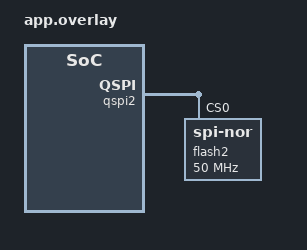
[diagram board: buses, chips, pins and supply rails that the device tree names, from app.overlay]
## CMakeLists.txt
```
# SPDX-License-Identifier: Apache-2.0
# QSPI flash test (qspi2@40040000 + on-board 32 MiB Puya NOR) - CMakeLists.txt

cmake_minimum_required(VERSION 3.20.0)
find_package(Zephyr REQUIRED HINTS $ENV{ZEPHYR_BASE})
project(cpu1_qspi_flash_test)

target_sources(app PRIVATE
    src/main.c
    src/qspi_flash_test.c)

# 统一 CMake 入口：common/test_results.c + common/ztest_glue.c + gpio_toggle.c
include(${CMAKE_CURRENT_SOURCE_DIR}/../../../common/common_sources.cmake)
```

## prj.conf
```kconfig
# QSPI flash test — cpu1（单核 1os）配置
# 被测：zephyr/drivers/spi/qspi_ls.c（linkedsemi,ls-qspi）
#       + zephyr/drivers/flash/spi_nor_multi_dev.c（jedec,spi-nor 上层）
#
# 配置参考已实测跑通的 sample：linkedsemi_zephyr_project/samples/spi_ls_flash_nor/

# ---- ztest 基础（SPEC_REFERENCE §6.2.1）----
CONFIG_ZTEST=y
CONFIG_ZTEST_VERBOSE_OUTPUT=y
CONFIG_ZTEST_ASSERT_VERBOSE=1

# ---- log 规范（SPEC_REFERENCE §6.1.7）----
CONFIG_LOG=y
CONFIG_LOG_MODE_DEFERRED=y
CONFIG_LOG_BUFFER_SIZE=16384
CONFIG_LOG_PROCESS_THREAD_SLEEP_MS=10
CONFIG_LOG_BACKEND_UART=y
CONFIG_LOG_PRINTK=n

# ---- libc 三件套（KNOWN_ISSUES #58，缺一构建失败）----
CONFIG_PICOLIBC=y
CONFIG_NEWLIB_LIBC=n
CONFIG_MINIMAL_LIBC=n

# ---- GPIO toggle（common/gpio_toggle.dtsi 使能 GPIOA）----
CONFIG_GPIO=y

# ---- SPI / SPI-NOR 栈 ----
# 注意：被测是 qspi_ls.c（jedec,spi-nor + SPI_NOR_MULTI_DEV），
#       不是 spi_ls.c；CONFIG_SPI_NOR（旧单实例驱动）必须关掉。
CONFIG_SPI=y
CONFIG_SPI_EXTENDED_MODES=y
CONFIG_FLASH=y
CONFIG_FLASH_MAP=y
CONFIG_FLASH_PAGE_LAYOUT=y
# 暴露 flash_read_jedec_id / flash_sfdp_read（spi_nor_multi_dev.c 挂在
# CONFIG_FLASH_JESD216_API 下，用于 JEDEC ID 断言与 SFDP 头读取）
CONFIG_FLASH_JESD216_API=y
CONFIG_SPI_NOR=n
CONFIG_SPI_NOR_SFDP_RUNTIME=y
CONFIG_SPI_NOR_MULTI_DEV=y
```

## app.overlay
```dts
/*
 * SPDX-License-Identifier: Apache-2.0
 *
 * QSPI flash 单核测试 overlay（cpu1，lsqsh_evb@1os/lsqsh/cpu1）。
 *
 * 硬件：qspi2@40040000 + 板载 32 MiB Puya NOR（JEDEC ID 85 23 19）。
 *       pinmux 走板载默认（PC05=CSN / PC06-09=DAT0-3 / PC10=SCK，FUNC4），
 *       零外部接线。
 *
 * 配置与 linkedsemi_zephyr_project/samples/spi_ls_flash_nor/ 一致
 * （该 sample 已实测跑通，是本工程的配置基准）。
 */

/ {
	chosen {
		zephyr,console = &uart1;
		zephyr,shell-uart = &uart1;
	};
};

&qspi2 {
	status = "okay";
	auto-wait-ready;
	auto-wait-interval = <1000>;

	flash2: flash2@0 {
		compatible = "jedec,spi-nor";
		reg = <0>;
		spi-max-frequency = <DT_FREQ_M(50)>;
		spi-max-buswidth = <4>;
		status = "okay";
	};
};

/* GPIO toggle 使能块统一走公共层（SPEC_REFERENCE §6.1.9 复用收敛）。
 * GPIO toggle 仅 cpu1 使用，cpu2 侧固件不编入 gpio_toggle.c、不 include 本片段。 */
#include "../../../common/gpio_toggle.dtsi"
```

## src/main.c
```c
/*
 * SPDX-License-Identifier: Apache-2.0
 *
 * QSPI flash 单核测试入口（cpu1）。
 * 纯 ztest：test_main 打印角色 banner 后 zt_init + zt_run_all
 * （common/ztest_glue），不返回（同 ztest 语义，SPEC_REFERENCE §6.1.1）。
 */

#include <zephyr/kernel.h>
#include <zephyr/device.h>
#include <zephyr/logging/log.h>

#include "ztest_glue.h"

LOG_MODULE_REGISTER(qspi_flash_test, LOG_LEVEL_INF);

void test_main(void)
{
	LOG_INF("[CPU1 QSPI FLASH] qspi2 + on-board 32MiB Puya NOR test started");

	zt_init("TGT");
	zt_run_all();
}
```
